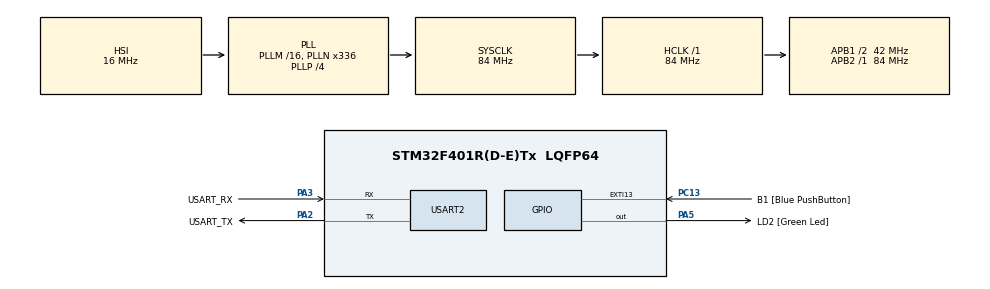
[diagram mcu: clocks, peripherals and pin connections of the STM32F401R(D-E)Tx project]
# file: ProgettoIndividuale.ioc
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Mcu.Family=STM32F4
Mcu.Name=STM32F401R(D-E)Tx
Mcu.Package=LQFP64
NVIC.EXTI15_10_IRQn=true\:0\:0\:false\:false\:true\:true\:true\:true
NVIC.PriorityGroup=NVIC_PRIORITYGROUP_0
PA13.GPIO_Label=TMS
PA13.Signal=SYS_JTMS-SWDIO
PA14.GPIO_Label=TCK
PA14.Signal=SYS_JTCK-SWCLK
PA2.GPIO_Label=USART_TX
PA2.GPIO_Mode=GPIO_MODE_AF_PP
PA2.GPIO_PuPd=GPIO_NOPULL
PA2.GPIO_Speed=GPIO_SPEED_FREQ_LOW
PA2.Mode=Asynchronous
PA2.Signal=USART2_TX
PA3.GPIO_Label=USART_RX
PA3.GPIO_Mode=GPIO_MODE_AF_PP
PA3.GPIO_PuPd=GPIO_NOPULL
PA3.GPIO_Speed=GPIO_SPEED_FREQ_LOW
PA3.Mode=Asynchronous
PA3.Signal=USART2_RX
PA5.GPIO_Label=LD2 [Green Led]
PA5.GPIO_Mode=GPIO_MODE_OUTPUT_PP
PA5.GPIO_PuPd=GPIO_NOPULL
PA5.GPIO_Speed=GPIO_SPEED_FREQ_LOW
PA5.Signal=GPIO_Output
PB3.GPIO_Label=SWO
PB3.Signal=SYS_JTDO-SWO
PC13-ANTI_TAMP.GPIO_Label=B1 [Blue PushButton]
PC13-ANTI_TAMP.GPIO_ModeDefaultEXTI=GPIO_MODE_IT_RISING_FALLING
PC13-ANTI_TAMP.GPIO_PuPd=GPIO_NOPULL
PC13-ANTI_TAMP.Signal=GPXTI13
PC14-OSC32_IN.Signal=RCC_OSC32_IN
PC15-OSC32_OUT.Signal=RCC_OSC32_OUT
PH0\ -\ OSC_IN.Signal=RCC_OSC_IN
PH1\ -\ OSC_OUT.Signal=RCC_OSC_OUT
ProjectManager.HeapSize=0x200
ProjectManager.StackSize=0x400
ProjectManager.TargetToolchain=STM32CubeIDE
RCC.AHBFreq_Value=84000000
RCC.APB1CLKDivider=RCC_HCLK_DIV2
RCC.APB1Freq_Value=42000000
RCC.APB1TimFreq_Value=84000000
RCC.APB2Freq_Value=84000000
RCC.APB2TimFreq_Value=84000000
RCC.CortexFreq_Value=84000000
RCC.HCLKFreq_Value=84000000
RCC.HSE_VALUE=8000000
RCC.HSI_VALUE=16000000
RCC.LSE_VALUE=32768
RCC.PLLN=336
RCC.PLLP=RCC_PLLP_DIV4
RCC.PLLQ=7
RCC.SYSCLKFreq_VALUE=84000000
RCC.SYSCLKSource=RCC_SYSCLKSOURCE_PLLCLK
RCC.VCOOutputFreq_Value=336000000
TIM2.Period=12860
TIM2.Prescaler=65533
USART2.VirtualMode=VM_ASYNC
VP_TIM2_VS_ClockSourceINT.Mode=Internal
board=NUCLEO-F401RE

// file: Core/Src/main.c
/* USER CODE BEGIN Header */
/**
  ******************************************************************************
  * @file           : main.c
  * @brief          : Main program body
  ******************************************************************************
  * @attention
  *
  * Copyright (c) 2025 STMicroelectronics.
  * All rights reserved.
  *
  * This software is licensed under terms that can be found in the LICENSE file
  * in the root directory of this software component.
  * If no LICENSE file comes with this software, it is provided AS-IS.
  *
  ******************************************************************************
  */
/* USER CODE END Header */
#include "main.h"

/* USER CODE BEGIN Includes */
#include "stdio.h"
#include "string.h"

/* USER CODE END Includes */

TIM_HandleTypeDef htim2;

UART_HandleTypeDef huart2;

/* USER CODE BEGIN PV */

int lampeggia=0;
extern uint32_t tempo_pressione;

char buffer[100]="";
int premuto=0;

/* USER CODE END PV */

void SystemClock_Config(void);
static void MX_GPIO_Init(void);
static void MX_TIM2_Init(void);
static void MX_USART2_UART_Init(void);

int main(void)
{

  /* MCU Configuration--------------------------------------------------------*/

  /* Reset of all peripherals, Initializes the Flash interface and the Systick. */
  HAL_Init();

  /* Configure the system clock */
  SystemClock_Config();

  /* Initialize all configured peripherals */
  MX_GPIO_Init();
  MX_TIM2_Init();
  MX_USART2_UART_Init();
  /* USER CODE BEGIN 2 */
  uint32_t counter1_5sec=(htim2.Init.Period/20)*3;
  uint32_t counter5sec=htim2.Init.Period/2;
  uint32_t counter7sec=(htim2.Init.Period/10)*7;

  /* USER CODE END 2 */

  /* Infinite loop */
  while (1)
  {

    /* USER CODE BEGIN 3 */

	  if(premuto==1&&tempo_pressione<counter1_5sec)
	  {
		  //il pulsante è stato premuto per meno di 1,5secondi
		  lampeggia=1;

		  sprintf(buffer, "tempo di pressione %lu minore di %lu\n\r", tempo_pressione,counter1_5sec );
		  HAL_UART_Transmit(&huart2, buffer, strlen(buffer), 1000);

		  sprintf(buffer, "STATO 2:blink\n\r" );
		  HAL_UART_Transmit(&huart2, buffer, strlen(buffer), 1000);

	  }else if(premuto==1&&tempo_pressione>counter5sec&&tempo_pressione<counter7sec)
	  {
		  //il pulsante è stato premuto tra i 5 e 7 secondi

		  sprintf(buffer, "tempopressione %lu maggiore di %lu e minore di %lu\n\r", tempo_pressione,counter5sec, counter7sec );
		  HAL_UART_Transmit(&huart2, buffer, strlen(buffer), 1000);

		  HAL_GPIO_WritePin(LD2_GPIO_Port, LD2_Pin, GPIO_PIN_RESET);
		  lampeggia=0;
		  //togliamo la modalità di lampeggiamentto

	  }

	  if(premuto==1)
	  {
		  premuto=0;

		  while(lampeggia==1&&premuto==0)
		  {
		  	  	HAL_GPIO_TogglePin(LD2_GPIO_Port, LD2_Pin);
		  	  	 HAL_Delay(200);
		  }
	  }

	  if(premuto==0&&lampeggia==0)
	  	  {	  sprintf(buffer, "STATO 1:Sleep\r\n");
	  	  	  HAL_UART_Transmit(&huart2, (uint8_t *)buffer, strlen(buffer), 1000);
	  	  	   //Entriamo nella modalità sleep
	  	  	  HAL_SuspendTick();
	  	  	  HAL_PWR_EnterSLEEPMode(PWR_MAINREGULATOR_ON, PWR_SLEEPENTRY_WFI);
	  	  	  HAL_ResumeTick();

	  	  //uscita dalla Sleep
	  	  }

  }
  /* USER CODE END 3 */
}

void SystemClock_Config(void)
{
  RCC_OscInitTypeDef RCC_OscInitStruct = {0};
  RCC_ClkInitTypeDef RCC_ClkInitStruct = {0};

  /** Configure the main internal regulator output voltage
  */
  __HAL_RCC_PWR_CLK_ENABLE();
  __HAL_PWR_VOLTAGESCALING_CONFIG(PWR_REGULATOR_VOLTAGE_SCALE2);

  /** Initializes the RCC Oscillators according to the specified parameters
  * in the RCC_OscInitTypeDef structure.
  */
  RCC_OscInitStruct.OscillatorType = RCC_OSCILLATORTYPE_HSI;
  RCC_OscInitStruct.HSIState = RCC_HSI_ON;
  RCC_OscInitStruct.HSICalibrationValue = RCC_HSICALIBRATION_DEFAULT;
  RCC_OscInitStruct.PLL.PLLState = RCC_PLL_ON;
  RCC_OscInitStruct.PLL.PLLSource = RCC_PLLSOURCE_HSI;
  RCC_OscInitStruct.PLL.PLLM = 16;
  RCC_OscInitStruct.PLL.PLLN = 336;
  RCC_OscInitStruct.PLL.PLLP = RCC_PLLP_DIV4;
  RCC_OscInitStruct.PLL.PLLQ = 7;
  if (HAL_RCC_OscConfig(&RCC_OscInitStruct) != HAL_OK)
  {
    Error_Handler();
  }

  /** Initializes the CPU, AHB and APB buses clocks
  */
  RCC_ClkInitStruct.ClockType = RCC_CLOCKTYPE_HCLK|RCC_CLOCKTYPE_SYSCLK
                              |RCC_CLOCKTYPE_PCLK1|RCC_CLOCKTYPE_PCLK2;
  RCC_ClkInitStruct.SYSCLKSource = RCC_SYSCLKSOURCE_PLLCLK;
  RCC_ClkInitStruct.AHBCLKDivider = RCC_SYSCLK_DIV1;
  RCC_ClkInitStruct.APB1CLKDivider = RCC_HCLK_DIV2;
  RCC_ClkInitStruct.APB2CLKDivider = RCC_HCLK_DIV1;

  if (HAL_RCC_ClockConfig(&RCC_ClkInitStruct, FLASH_LATENCY_2) != HAL_OK)
  {
    Error_Handler();
  }
}

static void MX_TIM2_Init(void)
{

  TIM_ClockConfigTypeDef sClockSourceConfig = {0};
  TIM_MasterConfigTypeDef sMasterConfig = {0};

  htim2.Instance = TIM2;
  htim2.Init.Prescaler = 65533;
  htim2.Init.CounterMode = TIM_COUNTERMODE_UP;
  htim2.Init.Period = 12860;
  htim2.Init.ClockDivision = TIM_CLOCKDIVISION_DIV1;
  htim2.Init.AutoReloadPreload = TIM_AUTORELOAD_PRELOAD_DISABLE;
  if (HAL_TIM_Base_Init(&htim2) != HAL_OK)
  {
    Error_Handler();
  }
  sClockSourceConfig.ClockSource = TIM_CLOCKSOURCE_INTERNAL;
  if (HAL_TIM_ConfigClockSource(&htim2, &sClockSourceConfig) != HAL_OK)
  {
    Error_Handler();
  }
  sMasterConfig.MasterOutputTrigger = TIM_TRGO_RESET;
  sMasterConfig.MasterSlaveMode = TIM_MASTERSLAVEMODE_DISABLE;
  if (HAL_TIMEx_MasterConfigSynchronization(&htim2, &sMasterConfig) != HAL_OK)
  {
    Error_Handler();
  }

}

static void MX_USART2_UART_Init(void)
{

  huart2.Instance = USART2;
  huart2.Init.BaudRate = 115200;
  huart2.Init.WordLength = UART_WORDLENGTH_8B;
  huart2.Init.StopBits = UART_STOPBITS_1;
  huart2.Init.Parity = UART_PARITY_NONE;
  huart2.Init.Mode = UART_MODE_TX_RX;
  huart2.Init.HwFlowCtl = UART_HWCONTROL_NONE;
  huart2.Init.OverSampling = UART_OVERSAMPLING_16;
  if (HAL_UART_Init(&huart2) != HAL_OK)
  {
    Error_Handler();
  }

}

static void MX_GPIO_Init(void)
{
  GPIO_InitTypeDef GPIO_InitStruct = {0};

  /* GPIO Ports Clock Enable */
  __HAL_RCC_GPIOC_CLK_ENABLE();
  __HAL_RCC_GPIOH_CLK_ENABLE();
  __HAL_RCC_GPIOA_CLK_ENABLE();
  __HAL_RCC_GPIOB_CLK_ENABLE();

  /*Configure GPIO pin Output Level */
  HAL_GPIO_WritePin(LD2_GPIO_Port, LD2_Pin, GPIO_PIN_RESET);

  /*Configure GPIO pin : B1_Pin */
  GPIO_InitStruct.Pin = B1_Pin;
  GPIO_InitStruct.Mode = GPIO_MODE_IT_RISING_FALLING;
  GPIO_InitStruct.Pull = GPIO_NOPULL;
  HAL_GPIO_Init(B1_GPIO_Port, &GPIO_InitStruct);

  /*Configure GPIO pin : LD2_Pin */
  GPIO_InitStruct.Pin = LD2_Pin;
  GPIO_InitStruct.Mode = GPIO_MODE_OUTPUT_PP;
  GPIO_InitStruct.Pull = GPIO_NOPULL;
  GPIO_InitStruct.Speed = GPIO_SPEED_FREQ_LOW;
  HAL_GPIO_Init(LD2_GPIO_Port, &GPIO_InitStruct);

  /* EXTI interrupt init*/
  HAL_NVIC_SetPriority(EXTI15_10_IRQn, 0, 0);
  HAL_NVIC_EnableIRQ(EXTI15_10_IRQn);

}

void Error_Handler(void)
{
  __disable_irq();
  while (1)
  {
  }
}
